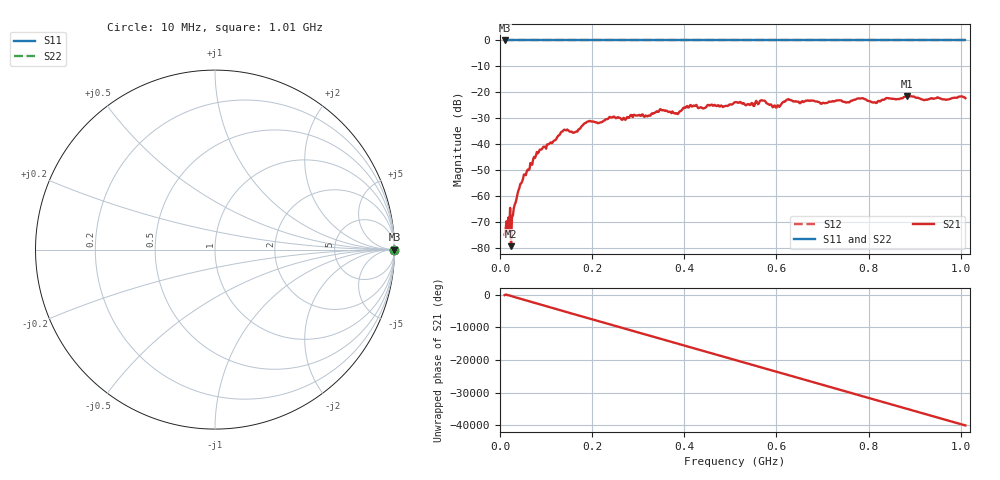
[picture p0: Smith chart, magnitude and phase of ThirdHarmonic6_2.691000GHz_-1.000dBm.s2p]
! 8/17/2025 6:23:13 AM
! C:\ANRITSUVNA\TEMP\TEMP.S2P
! CHANNEL.1
! TR.MEASUREMENT
! RAW.DATA
! RF.CORRECTION.OFF
! AVERAGING.OFF
! IF.BANDWIDTH: 5KHZ
! SWEEPTYPE:  FREQ.SWEEP(Linear)
! Reference Plane Port Info
! PORT:  PORT1  PORT2
! DISTANCE:  0  m  0  m
! TIME:  0  s  0  s
! PHASE.OFFSET:  0  deg.  0  deg.
! LOSS:  0  dB  0  dB
! REF.LOSS:  0  dB  0  dB
! REF.FREQ:  0  Hz  0  Hz
! Power Info
! POWER:  -20  dBm  -20  dBm
! EFF.POWER:  -20  dBm  -20  dBm
! SOURCE.ATTEN:  0  dB  0  dB
! TEST.ATTEN:  0  dB  0  dB
# GHZ S RI R 50.0
! FREQ.GHZ  S11RE  S11IM  S21RE  S21IM  S12RE  S12IM  S22RE  S22IM
!; PortSelection: Port_12
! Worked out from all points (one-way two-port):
!   501 points, 10 MHz to 1.01 GHz, reference 50 ohm
!   highest |S21| = -21.47 dB at 884 MHz (marker M1); lowest = -79.3 dB at 24 MHz (marker M2)
!   lowest |S11| = 0.0 dB at 10 MHz (marker M3)
!   |S11| at or under -10 dB: nowhere
!   |S22| runs from 0.0 to 0.0 dB; largest |S21 - S12| = 1.1
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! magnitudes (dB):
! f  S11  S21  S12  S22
! 10 MHz  0.0  -74.9  0.0  0.0
! 18 MHz  0.0  -68.3  0.0  0.0
! 20 MHz  0.0  -73.0  0.0  0.0
! 24 MHz  0.0  -79.3  0.0  0.0
! 34 MHz  0.0  -62.5  0.0  0.0
! 48 MHz  0.0  -54.4  0.0  0.0
! 82 MHz  0.0  -43.5  0.0  0.0
! 136 MHz  0.0  -35.1  0.0  0.0
! 164 MHz  0.0  -35.2  0.0  0.0
! 178 MHz  0.0  -32.9  0.0  0.0
! 344 MHz  0.0  -27.5  0.0  0.0
! 382 MHz  0.0  -28.0  0.0  0.0
! 410 MHz  0.0  -25.8  0.0  0.0
! 510 MHz  0.0  -23.8  0.0  0.0
! 570 MHz  0.0  -23.2  0.0  0.0
! 596 MHz  0.0  -25.0  0.0  0.0
! 626 MHz  0.0  -22.6  0.0  0.0
! 678 MHz  0.0  -23.2  0.0  0.0
! 814 MHz  0.0  -23.9  0.0  0.0
! 844 MHz  0.0  -22.3  0.0  0.0
! 884 MHz  0.0  -21.5  0.0  0.0
! 1.01 GHz  0.0  -22.3  0.0  0.0
